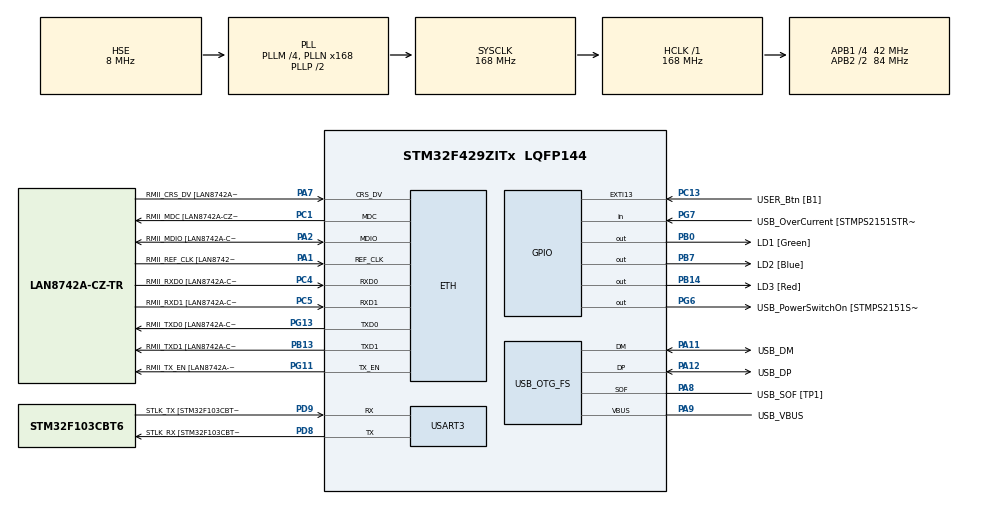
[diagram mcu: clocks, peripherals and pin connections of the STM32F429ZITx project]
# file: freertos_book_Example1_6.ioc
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ETH.MediaInterface=HAL_ETH_RMII_MODE
ETH.PHY_Name=LAN8742A_PHY_ADDRESS
ETH.PHY_Value=0
ETH.PhyAddress=0
FREERTOS.INCLUDE_vTaskDelayUntil=1
FREERTOS.MEMORY_ALLOCATION=0
FREERTOS.Tasks01=TaskStats,1,160,vTaskStats_,Default,NULL,Dynamic,NULL,NULL;TaskDemo1,0,160,vTaskDemo_,Default,NULL,Dynamic,NULL,NULL;TaskDemo2,0,160,vTaskDemo_,Default,NULL,Dynamic,NULL,NULL
FREERTOS.configCHECK_FOR_STACK_OVERFLOW=1
FREERTOS.configGENERATE_RUN_TIME_STATS=1
FREERTOS.configUSE_NEWLIB_REENTRANT=1
FREERTOS.configUSE_STATS_FORMATTING_FUNCTIONS=1
FREERTOS.configUSE_TRACE_FACILITY=1
Mcu.Family=STM32F4
Mcu.Name=STM32F429ZITx
Mcu.Package=LQFP144
NVIC.PriorityGroup=NVIC_PRIORITYGROUP_4
NVIC.TIM2_IRQn=true\:5\:0\:false\:false\:true\:true\:true\:true\:true
NVIC.TIM7_IRQn=true\:15\:0\:false\:false\:true\:false\:false\:true\:true
NVIC.TimeBase=TIM7_IRQn
NVIC.TimeBaseIP=TIM7
PA1.GPIO_Label=RMII_REF_CLK [LAN8742A-CZ-TR_REFCLK0]
PA1.Mode=RMII
PA1.Signal=ETH_REF_CLK
PA10.GPIO_Label=USB_ID
PA10.Signal=USB_OTG_FS_ID
PA11.GPIO_Label=USB_DM
PA11.Mode=Device_Only
PA11.Signal=USB_OTG_FS_DM
PA12.GPIO_Label=USB_DP
PA12.Mode=Device_Only
PA12.Signal=USB_OTG_FS_DP
PA13.GPIO_Label=TMS
PA13.Mode=Serial_Wire
PA13.Signal=SYS_JTMS-SWDIO
PA14.GPIO_Label=TCK
PA14.Mode=Serial_Wire
PA14.Signal=SYS_JTCK-SWCLK
PA2.GPIO_Label=RMII_MDIO [LAN8742A-CZ-TR_MDIO]
PA2.Mode=RMII
PA2.Signal=ETH_MDIO
PA7.GPIO_Label=RMII_CRS_DV [LAN8742A-CZ-TR_CRS_DV]
PA7.Mode=RMII
PA7.Signal=ETH_CRS_DV
PA8.GPIO_Label=USB_SOF [TP1]
PA8.Mode=Activate_SOF_FS
PA8.Signal=USB_OTG_FS_SOF
PA9.GPIO_Label=USB_VBUS
PA9.Mode=Activate_VBUS
PA9.Signal=USB_OTG_FS_VBUS
PB0.GPIO_Label=LD1 [Green]
PB0.Signal=GPIO_Output
PB13.GPIO_Label=RMII_TXD1 [LAN8742A-CZ-TR_TXD1]
PB13.Mode=RMII
PB13.Signal=ETH_TXD1
PB14.GPIO_Label=LD3 [Red]
PB14.Signal=GPIO_Output
PB7.GPIO_Label=LD2 [Blue]
PB7.Signal=GPIO_Output
PC1.GPIO_Label=RMII_MDC [LAN8742A-CZ-TR_MDC]
PC1.Mode=RMII
PC1.Signal=ETH_MDC
PC13.GPIO_Label=USER_Btn [B1]
PC13.Signal=GPXTI13
PC14/OSC32_IN.Mode=LSE-External-Oscillator
PC14/OSC32_IN.Signal=RCC_OSC32_IN
PC15/OSC32_OUT.Mode=LSE-External-Oscillator
PC15/OSC32_OUT.Signal=RCC_OSC32_OUT
PC4.GPIO_Label=RMII_RXD0 [LAN8742A-CZ-TR_RXD0]
PC4.Mode=RMII
PC4.Signal=ETH_RXD0
PC5.GPIO_Label=RMII_RXD1 [LAN8742A-CZ-TR_RXD1]
PC5.Mode=RMII
PC5.Signal=ETH_RXD1
PD8.GPIO_Label=STLK_RX [STM32F103CBT6_PA3]
PD8.Mode=Asynchronous
PD8.Signal=USART3_TX
PD9.GPIO_Label=STLK_TX [STM32F103CBT6_PA2]
PD9.Mode=Asynchronous
PD9.Signal=USART3_RX
PG11.GPIO_Label=RMII_TX_EN [LAN8742A-CZ-TR_TXEN]
PG11.Mode=RMII
PG11.Signal=ETH_TX_EN
PG13.GPIO_Label=RMII_TXD0 [LAN8742A-CZ-TR_TXD0]
PG13.Mode=RMII
PG13.Signal=ETH_TXD0
PG6.GPIO_Label=USB_PowerSwitchOn [STMPS2151STR_EN]
PG6.Signal=GPIO_Output
PG7.GPIO_Label=USB_OverCurrent [STMPS2151STR_FAULT]
PG7.Signal=GPIO_Input
PH0/OSC_IN.GPIO_Label=MCO [STM32F103CBT6_PA8]
PH0/OSC_IN.Mode=HSE-External-Clock-Source
PH0/OSC_IN.Signal=RCC_OSC_IN
PH1/OSC_OUT.Mode=HSE-External-Clock-Source
PH1/OSC_OUT.Signal=RCC_OSC_OUT
ProjectManager.HeapSize=0x200
ProjectManager.StackSize=0x400
ProjectManager.TargetToolchain=STM32CubeIDE
RCC.48MHZClocksFreq_Value=48000000
RCC.AHBFreq_Value=168000000
RCC.APB1CLKDivider=RCC_HCLK_DIV4
RCC.APB1Freq_Value=42000000
RCC.APB1TimFreq_Value=84000000
RCC.APB2CLKDivider=RCC_HCLK_DIV2
RCC.APB2Freq_Value=84000000
RCC.APB2TimFreq_Value=168000000
RCC.CortexFreq_Value=168000000
RCC.HCLKFreq_Value=168000000
RCC.HSE_VALUE=8000000
RCC.HSI_VALUE=16000000
RCC.PLLM=4
RCC.PLLMUL=RCC_PLL_MUL9
RCC.PLLN=168
RCC.PLLQ=7
RCC.PRESCALERUSB=RCC_USBCLKSOURCE_PLL_DIV1_5
RCC.SYSCLKFreq_VALUE=168000000
RCC.SYSCLKSource=RCC_SYSCLKSOURCE_PLLCLK
RCC.SYSCLKSourceVirtual=RCC_SYSCLKSOURCE_PLLCLK
RCC.USBFreq_Value=48000000
RCC.VCOOutputFreq_Value=336000000
TIM2.Period=42-1
TIM2.Prescaler=2-1
USART3.VirtualMode=VM_ASYNC
USB_OTG_FS.VirtualMode=Device_Only
VP_FREERTOS_VS_CMSIS_V1.Mode=CMSIS_V1
VP_SYS_VS_tim7.Mode=TIM7
VP_TIM2_VS_ClockSourceINT.Mode=Internal
board=NUCLEO-F429ZI

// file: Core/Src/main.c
/* USER CODE BEGIN Header */
/**
  ******************************************************************************
  * @file           : main.c
  * @brief          : Main program body
  ******************************************************************************
  * @attention
  *
  * Copyright (c) 2022 STMicroelectronics.
  * All rights reserved.
  *
  * This software is licensed under terms that can be found in the LICENSE file
  * in the root directory of this software component.
  * If no LICENSE file comes with this software, it is provided AS-IS.
  *
  ******************************************************************************
  */
/* USER CODE END Header */
#include "main.h"
#include "string.h"
#include "cmsis_os.h"

/* USER CODE BEGIN Includes */
/* Standard includes. */
#include <stdio.h>
#include <stdlib.h>

/* Demo includes. */
#include "supportingFunctions.h"

/* USER CODE END Includes */

ETH_TxPacketConfig TxConfig;
ETH_DMADescTypeDef  DMARxDscrTab[ETH_RX_DESC_CNT]; /* Ethernet Rx DMA Descriptors */
ETH_DMADescTypeDef  DMATxDscrTab[ETH_TX_DESC_CNT]; /* Ethernet Tx DMA Descriptors */

 ETH_HandleTypeDef heth;

TIM_HandleTypeDef htim2;

UART_HandleTypeDef huart3;

PCD_HandleTypeDef hpcd_USB_OTG_FS;

osThreadId defaultTaskHandle;

void SystemClock_Config(void);
static void MX_GPIO_Init(void);
static void MX_ETH_Init(void);
static void MX_USART3_UART_Init(void);
static void MX_USB_OTG_FS_PCD_Init(void);
static void MX_TIM2_Init(void);
void StartDefaultTask(void const * argument);

/* USER CODE BEGIN PFP */
extern void vTaskStats( void *pvParameters );
extern void vTaskDemo( void *pvParameters );
extern volatile unsigned long ulHighFrequencyTimerTicks;

/* USER CODE END PFP */

int main(void)
{
  /* USER CODE BEGIN 1 */
	const char *pcTextForMain = "freertos_book_Example1_6 is running: Print run time statistics and task list\r\n\n";

  /* USER CODE END 1 */

  /* MCU Configuration--------------------------------------------------------*/

  /* Reset of all peripherals, Initializes the Flash interface and the Systick. */
  HAL_Init();

  /* Configure the system clock */
  SystemClock_Config();

  /* Initialize all configured peripherals */
  MX_GPIO_Init();
  MX_ETH_Init();
  MX_USART3_UART_Init();
  MX_USB_OTG_FS_PCD_Init();
  MX_TIM2_Init();

  /* USER CODE BEGIN 2 */
    vPrintString( pcTextForMain );

    /* Start timer */
    HAL_TIM_Base_Start_IT(&htim2);

  /* USER CODE END 2 */

  /* Create the thread(s) */
  /* definition and creation of defaultTask */
  osThreadDef(defaultTask, StartDefaultTask, osPriorityNormal, 0, 128);
  defaultTaskHandle = osThreadCreate(osThread(defaultTask), NULL);

  /* USER CODE BEGIN RTOS_THREADS */
	BaseType_t ret;

	/* TaskStats thread at priority 2 */
	ret = xTaskCreate( vTaskStats,					/* Pointer to the function thats implement the task. */
					   "TaskStats",					/* Text name for the task. This is to facilitate debugging only. */
					   (2 * configMINIMAL_STACK_SIZE),	/* Stack depth in words. 				*/
					   NULL,						/* We are not using the task parameter.		*/
					   (tskIDLE_PRIORITY + 2UL),	/* This task will run at priority 2. 		*/
		               NULL );                   	/* We are not using the task handle. */

	/* Check the task was created successfully. */
	configASSERT( ret == pdPASS );

	/* TaskDemo 1 thread at priority 1 */
	ret = xTaskCreate( vTaskDemo,					/* Pointer to the function thats implement the task. */
					   "TaskDemo1",					/* Text name for the task. This is to facilitate debugging only. */
					   (2 * configMINIMAL_STACK_SIZE),	/* Stack depth in words. 				*/
					   NULL,						/* We are not using the task parameter.		*/
					   (tskIDLE_PRIORITY + 1UL),	/* This task will run at priority 1. 		*/
		               NULL );                   	/* We are not using the task handle. */

	/* Check the task was created successfully. */
	configASSERT( ret == pdPASS );

	/* TaskDemo 2 thread at priority 1 */
	ret = xTaskCreate( vTaskDemo,					/* Pointer to the function thats implement the task. */
					   "TaskDemo2",					/* Text name for the task. This is to facilitate debugging only. */
					   (2 * configMINIMAL_STACK_SIZE),	/* Stack depth in words. 				*/
					   NULL,						/* We are not using the task parameter.		*/
					   (tskIDLE_PRIORITY + 1UL),	/* This task will run at priority 1. 		*/
		               NULL );                   	/* We are not using the task handle. */

	/* Check the task was created successfully. */
	configASSERT( ret == pdPASS );

  /* USER CODE END RTOS_THREADS */

  /* Start scheduler */
  osKernelStart();

  /* We should never get here as control is now taken by the scheduler */
  /* Infinite loop */
  while (1)
  {

  }
}

void SystemClock_Config(void)
{
  RCC_OscInitTypeDef RCC_OscInitStruct = {0};
  RCC_ClkInitTypeDef RCC_ClkInitStruct = {0};

  /** Configure the main internal regulator output voltage
  */
  __HAL_RCC_PWR_CLK_ENABLE();
  __HAL_PWR_VOLTAGESCALING_CONFIG(PWR_REGULATOR_VOLTAGE_SCALE1);

  /** Initializes the RCC Oscillators according to the specified parameters
  * in the RCC_OscInitTypeDef structure.
  */
  RCC_OscInitStruct.OscillatorType = RCC_OSCILLATORTYPE_HSE;
  RCC_OscInitStruct.HSEState = RCC_HSE_BYPASS;
  RCC_OscInitStruct.PLL.PLLState = RCC_PLL_ON;
  RCC_OscInitStruct.PLL.PLLSource = RCC_PLLSOURCE_HSE;
  RCC_OscInitStruct.PLL.PLLM = 4;
  RCC_OscInitStruct.PLL.PLLN = 168;
  RCC_OscInitStruct.PLL.PLLP = RCC_PLLP_DIV2;
  RCC_OscInitStruct.PLL.PLLQ = 7;
  if (HAL_RCC_OscConfig(&RCC_OscInitStruct) != HAL_OK)
  {
    Error_Handler();
  }

  /** Initializes the CPU, AHB and APB buses clocks
  */
  RCC_ClkInitStruct.ClockType = RCC_CLOCKTYPE_HCLK|RCC_CLOCKTYPE_SYSCLK
                              |RCC_CLOCKTYPE_PCLK1|RCC_CLOCKTYPE_PCLK2;
  RCC_ClkInitStruct.SYSCLKSource = RCC_SYSCLKSOURCE_PLLCLK;
  RCC_ClkInitStruct.AHBCLKDivider = RCC_SYSCLK_DIV1;
  RCC_ClkInitStruct.APB1CLKDivider = RCC_HCLK_DIV4;
  RCC_ClkInitStruct.APB2CLKDivider = RCC_HCLK_DIV2;

  if (HAL_RCC_ClockConfig(&RCC_ClkInitStruct, FLASH_LATENCY_5) != HAL_OK)
  {
    Error_Handler();
  }
}

static void MX_ETH_Init(void)
{

   static uint8_t MACAddr[6];

  heth.Instance = ETH;
  MACAddr[0] = 0x00;
  MACAddr[1] = 0x80;
  MACAddr[2] = 0xE1;
  MACAddr[3] = 0x00;
  MACAddr[4] = 0x00;
  MACAddr[5] = 0x00;
  heth.Init.MACAddr = &MACAddr[0];
  heth.Init.MediaInterface = HAL_ETH_RMII_MODE;
  heth.Init.TxDesc = DMATxDscrTab;
  heth.Init.RxDesc = DMARxDscrTab;
  heth.Init.RxBuffLen = 1524;

  if (HAL_ETH_Init(&heth) != HAL_OK)
  {
    Error_Handler();
  }

  memset(&TxConfig, 0 , sizeof(ETH_TxPacketConfig));
  TxConfig.Attributes = ETH_TX_PACKETS_FEATURES_CSUM | ETH_TX_PACKETS_FEATURES_CRCPAD;
  TxConfig.ChecksumCtrl = ETH_CHECKSUM_IPHDR_PAYLOAD_INSERT_PHDR_CALC;
  TxConfig.CRCPadCtrl = ETH_CRC_PAD_INSERT;

}

static void MX_TIM2_Init(void)
{

  TIM_ClockConfigTypeDef sClockSourceConfig = {0};
  TIM_MasterConfigTypeDef sMasterConfig = {0};

  htim2.Instance = TIM2;
  htim2.Init.Prescaler = 2-1;
  htim2.Init.CounterMode = TIM_COUNTERMODE_UP;
  htim2.Init.Period = 42-1;
  htim2.Init.ClockDivision = TIM_CLOCKDIVISION_DIV1;
  htim2.Init.AutoReloadPreload = TIM_AUTORELOAD_PRELOAD_DISABLE;
  if (HAL_TIM_Base_Init(&htim2) != HAL_OK)
  {
    Error_Handler();
  }
  sClockSourceConfig.ClockSource = TIM_CLOCKSOURCE_INTERNAL;
  if (HAL_TIM_ConfigClockSource(&htim2, &sClockSourceConfig) != HAL_OK)
  {
    Error_Handler();
  }
  sMasterConfig.MasterOutputTrigger = TIM_TRGO_RESET;
  sMasterConfig.MasterSlaveMode = TIM_MASTERSLAVEMODE_DISABLE;
  if (HAL_TIMEx_MasterConfigSynchronization(&htim2, &sMasterConfig) != HAL_OK)
  {
    Error_Handler();
  }

}

static void MX_USART3_UART_Init(void)
{

  huart3.Instance = USART3;
  huart3.Init.BaudRate = 115200;
  huart3.Init.WordLength = UART_WORDLENGTH_8B;
  huart3.Init.StopBits = UART_STOPBITS_1;
  huart3.Init.Parity = UART_PARITY_NONE;
  huart3.Init.Mode = UART_MODE_TX_RX;
  huart3.Init.HwFlowCtl = UART_HWCONTROL_NONE;
  huart3.Init.OverSampling = UART_OVERSAMPLING_16;
  if (HAL_UART_Init(&huart3) != HAL_OK)
  {
    Error_Handler();
  }

}

static void MX_USB_OTG_FS_PCD_Init(void)
{

  hpcd_USB_OTG_FS.Instance = USB_OTG_FS;
  hpcd_USB_OTG_FS.Init.dev_endpoints = 4;
  hpcd_USB_OTG_FS.Init.speed = PCD_SPEED_FULL;
  hpcd_USB_OTG_FS.Init.dma_enable = DISABLE;
  hpcd_USB_OTG_FS.Init.phy_itface = PCD_PHY_EMBEDDED;
  hpcd_USB_OTG_FS.Init.Sof_enable = ENABLE;
  hpcd_USB_OTG_FS.Init.low_power_enable = DISABLE;
  hpcd_USB_OTG_FS.Init.lpm_enable = DISABLE;
  hpcd_USB_OTG_FS.Init.vbus_sensing_enable = ENABLE;
  hpcd_USB_OTG_FS.Init.use_dedicated_ep1 = DISABLE;
  if (HAL_PCD_Init(&hpcd_USB_OTG_FS) != HAL_OK)
  {
    Error_Handler();
  }

}

static void MX_GPIO_Init(void)
{
  GPIO_InitTypeDef GPIO_InitStruct = {0};

  /* GPIO Ports Clock Enable */
  __HAL_RCC_GPIOC_CLK_ENABLE();
  __HAL_RCC_GPIOH_CLK_ENABLE();
  __HAL_RCC_GPIOA_CLK_ENABLE();
  __HAL_RCC_GPIOB_CLK_ENABLE();
  __HAL_RCC_GPIOD_CLK_ENABLE();
  __HAL_RCC_GPIOG_CLK_ENABLE();

  /*Configure GPIO pin Output Level */
  HAL_GPIO_WritePin(GPIOB, LD1_Pin|LD3_Pin|LD2_Pin, GPIO_PIN_RESET);

  /*Configure GPIO pin Output Level */
  HAL_GPIO_WritePin(USB_PowerSwitchOn_GPIO_Port, USB_PowerSwitchOn_Pin, GPIO_PIN_RESET);

  /*Configure GPIO pin : USER_Btn_Pin */
  GPIO_InitStruct.Pin = USER_Btn_Pin;
  GPIO_InitStruct.Mode = GPIO_MODE_IT_RISING;
  GPIO_InitStruct.Pull = GPIO_NOPULL;
  HAL_GPIO_Init(USER_Btn_GPIO_Port, &GPIO_InitStruct);

  /*Configure GPIO pins : LD1_Pin LD3_Pin LD2_Pin */
  GPIO_InitStruct.Pin = LD1_Pin|LD3_Pin|LD2_Pin;
  GPIO_InitStruct.Mode = GPIO_MODE_OUTPUT_PP;
  GPIO_InitStruct.Pull = GPIO_NOPULL;
  GPIO_InitStruct.Speed = GPIO_SPEED_FREQ_LOW;
  HAL_GPIO_Init(GPIOB, &GPIO_InitStruct);

  /*Configure GPIO pin : USB_PowerSwitchOn_Pin */
  GPIO_InitStruct.Pin = USB_PowerSwitchOn_Pin;
  GPIO_InitStruct.Mode = GPIO_MODE_OUTPUT_PP;
  GPIO_InitStruct.Pull = GPIO_NOPULL;
  GPIO_InitStruct.Speed = GPIO_SPEED_FREQ_LOW;
  HAL_GPIO_Init(USB_PowerSwitchOn_GPIO_Port, &GPIO_InitStruct);

  /*Configure GPIO pin : USB_OverCurrent_Pin */
  GPIO_InitStruct.Pin = USB_OverCurrent_Pin;
  GPIO_InitStruct.Mode = GPIO_MODE_INPUT;
  GPIO_InitStruct.Pull = GPIO_NOPULL;
  HAL_GPIO_Init(USB_OverCurrent_GPIO_Port, &GPIO_InitStruct);

}

void StartDefaultTask(void const * argument)
{
  /* USER CODE BEGIN 5 */
  /* Infinite loop */
  for(;;)
  {
    osDelay(50000);
  }
  /* USER CODE END 5 */
}

void HAL_TIM_PeriodElapsedCallback(TIM_HandleTypeDef *htim)
{
  /* USER CODE BEGIN Callback 0 */
#if( TASKS_SCOPE == TASKS_OUTSIDE_MAIN)
    if (htim->Instance == TIM2) {
    	ulHighFrequencyTimerTicks++;
	}
#endif

  /* USER CODE END Callback 0 */
  if (htim->Instance == TIM7) {
    HAL_IncTick();
  }
}

void Error_Handler(void)
{
  __disable_irq();
  while (1)
  {
  }
}
